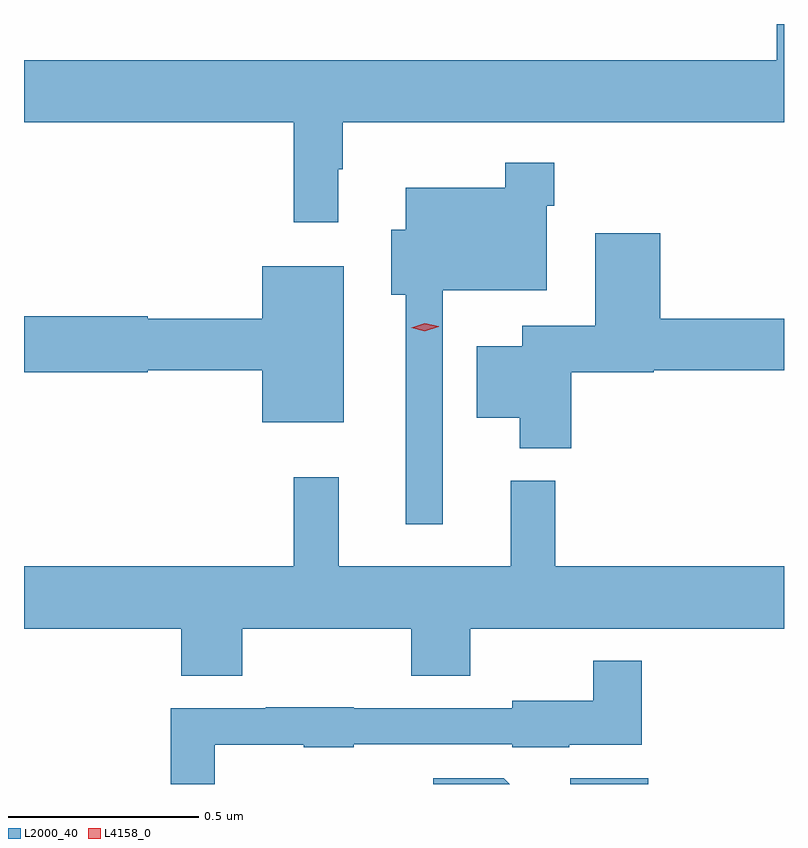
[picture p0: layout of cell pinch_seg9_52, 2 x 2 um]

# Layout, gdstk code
import gdstk
lib = gdstk.Library(unit=1e-6, precision=1e-09)
def R(c, l, rs):  # rectangles x0, y0, x1, y1
    for r in rs: c.add(gdstk.rectangle(r[:2], r[2:], *l))
def P(c, l, *ps):  # polygons
    for p in ps: c.add(gdstk.Polygon(p, *l))
L2000_40 = (2000, 40)
L4158_0 = (4158, 0)

pinch_seg9_52 = lib.new_cell('pinch_seg9_52')
R(pinch_seg9_52, L2000_40, [(970.694,1186.687,970.9,1186.702)])
P(pinch_seg9_52, L2000_40, [(970.084,1188.305),(970.096,1188.305),(970.096,1188.428),(971.257,1188.428),(971.257,1188.687),(971.238,1188.687),(971.238,1188.592),(969.257,1188.592),(969.257,1188.428),(969.967,1188.428),(969.967,1188.165),(970.084,1188.165)],
  [(970.359,1187.987),(970.632,1187.987),(970.632,1188.209),(970.652,1188.209),(970.652,1188.322),(970.524,1188.322),(970.524,1188.256),(970.262,1188.256),(970.262,1188.145),(970.223,1188.145),(970.223,1187.975),(970.262,1187.975),(970.262,1187.37),(970.359,1187.37)],
  [(970.697,1187.771),(970.914,1187.771),(970.914,1187.776),(971.257,1187.776),(971.257,1187.912),(970.931,1187.912),(970.931,1188.136),(970.76,1188.136),(970.76,1187.893),(970.568,1187.893),(970.568,1187.839),(970.448,1187.839),(970.448,1187.651),(970.562,1187.651),(970.562,1187.57),(970.697,1187.57)],
  [(970.099,1188.049),(969.884,1188.049),(969.884,1187.912),(969.582,1187.912),(969.582,1187.918),(969.257,1187.918),(969.257,1187.771),(969.582,1187.771),(969.582,1187.776),(969.884,1187.776),(969.884,1187.639),(970.099,1187.639)],
  [(969.831,1187.096),(970.276,1187.096),(970.276,1186.972),(970.431,1186.972),(970.431,1187.096),(971.257,1187.096),(971.257,1187.26),(970.655,1187.26),(970.655,1187.485),(970.538,1187.485),(970.538,1187.26),(970.085,1187.26),(970.085,1187.494),(969.967,1187.494),(969.967,1187.26),(969.257,1187.26),(969.257,1187.096),(969.671,1187.096),(969.671,1186.972),(969.831,1186.972)],
  [(969.759,1186.79),(969.993,1186.79),(969.993,1186.784),(970.125,1186.784),(970.125,1186.791),(970.542,1186.791),(970.542,1186.784),(970.692,1186.784),(970.692,1186.79),(970.883,1186.79),(970.883,1187.011),(970.755,1187.011),(970.755,1186.906),(970.542,1186.906),(970.542,1186.887),(970.125,1186.887),(970.125,1186.889),(969.893,1186.889),(969.893,1186.887),(969.643,1186.887),(969.643,1186.687),(969.759,1186.687)],
  [(970.52,1186.702),(970.334,1186.702),(970.334,1186.687),(970.535,1186.687)])
P(pinch_seg9_52, L4158_0, [(970.312,1187.879),(970.276,1187.888),(970.276,1187.888),(970.276,1187.888),(970.312,1187.899),(970.348,1187.891),(970.348,1187.891),(970.348,1187.89)])

lib.write_gds('pinch_seg9_52.gds')
